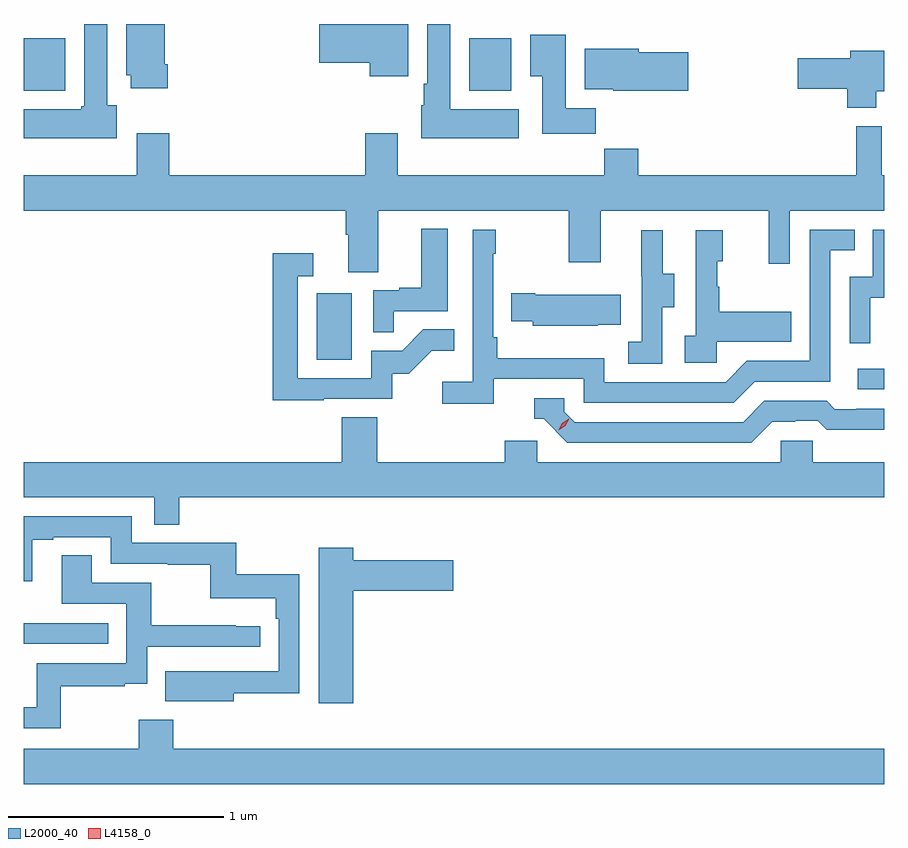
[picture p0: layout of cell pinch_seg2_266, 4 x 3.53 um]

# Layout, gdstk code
import gdstk
lib = gdstk.Library(unit=1e-6, precision=1e-09)
def R(c, l, rs):  # rectangles x0, y0, x1, y1
    for r in rs: c.add(gdstk.rectangle(r[:2], r[2:], *l))
def P(c, l, *ps):  # polygons
    for p in ps: c.add(gdstk.Polygon(p, *l))
L2000_40 = (2000, 40)
L4158_0 = (4158, 0)

pinch_seg2_266 = lib.new_cell('pinch_seg2_266')
R(pinch_seg2_266, L2000_40, [(900.998,654.948,901.391,655.044), (904.875,656.13,904.998,656.226), (902.36,656.268,902.524,656.575), (900.998,657.518,901.192,657.76), (903.068,657.518,903.265,657.76)])
P(pinch_seg2_266, L2000_40, [(901.432,657.45),(901.387,657.45),(901.387,657.827),(901.28,657.827),(901.28,657.444),(901.267,657.444),(901.267,657.43),(900.998,657.43),(900.998,657.296),(901.432,657.296)],
  [(902.785,657.827),(902.372,657.827),(902.372,657.647),(902.606,657.647),(902.606,657.584),(902.785,657.584)],
  [(901.667,657.64),(901.654,657.64),(901.654,657.827),(901.475,657.827),(901.475,657.588),(901.496,657.588),(901.496,657.528),(901.667,657.528)],
  [(903.298,657.43),(902.98,657.43),(902.98,657.827),(902.873,657.827),(902.873,657.55),(902.858,657.55),(902.858,657.45),(902.846,657.45),(902.846,657.296),(903.298,657.296)],
  [(903.656,657.436),(903.517,657.436),(903.517,657.778),(903.353,657.778),(903.353,657.584),(903.407,657.584),(903.407,657.318),(903.656,657.318)],
  [(904.087,657.695),(903.856,657.695),(903.856,657.712),(903.605,657.712),(903.605,657.524),(903.738,657.524),(903.738,657.518),(904.087,657.518)],
  [(904.96,657.515),(904.998,657.515),(904.998,657.703),(904.838,657.703),(904.838,657.668),(904.596,657.668),(904.596,657.526),(904.826,657.526),(904.826,657.437),(904.96,657.437)],
  [(902.647,656.96),(903.532,656.96),(903.532,656.721),(903.679,656.721),(903.679,656.96),(904.46,656.96),(904.46,656.712),(904.557,656.712),(904.557,656.96),(904.998,656.96),(904.998,657.124),(904.985,657.124),(904.985,657.352),(904.867,657.352),(904.867,657.124),(903.854,657.124),(903.854,657.248),(903.697,657.248),(903.697,657.124),(902.737,657.124),(902.737,657.319),(902.585,657.319),(902.585,657.124),(901.676,657.124),(901.676,657.319),(901.523,657.319),(901.523,657.124),(900.998,657.124),(900.998,656.96),(902.495,656.96),(902.495,656.848),(902.507,656.848),(902.507,656.674),(902.647,656.674)],
  [(902.717,656.493),(902.968,656.493),(902.968,656.875),(902.846,656.875),(902.846,656.602),(902.743,656.602),(902.743,656.589),(902.622,656.589),(902.622,656.395),(902.717,656.395)],
  [(903.182,656.178),(903.6,656.178),(903.6,656.067),(904.297,656.067),(904.396,656.166),(904.746,656.166),(904.746,656.775),(904.859,656.775),(904.859,656.871),(904.65,656.871),(904.65,656.262),(904.359,656.262),(904.26,656.163),(903.696,656.163),(903.696,656.275),(903.2,656.275),(903.2,656.371),(903.18,656.371),(903.18,656.759),(903.193,656.759),(903.193,656.872),(903.084,656.872),(903.084,656.164),(902.943,656.164),(902.943,656.062),(903.182,656.062)],
  [(904.932,656.555),(904.998,656.555),(904.998,656.871),(904.944,656.871),(904.944,656.652),(904.836,656.652),(904.836,656.343),(904.932,656.343)],
  [(903.966,656.512),(904.021,656.512),(904.021,656.667),(903.967,656.667),(903.967,656.869),(903.869,656.869),(903.869,656.655),(903.87,656.655),(903.87,656.351),(903.807,656.351),(903.807,656.248),(903.966,656.248)],
  [(904.218,656.351),(904.565,656.351),(904.565,656.491),(904.231,656.491),(904.231,656.606),(904.221,656.606),(904.221,656.724),(904.246,656.724),(904.246,656.869),(904.122,656.869),(904.122,656.378),(904.071,656.378),(904.071,656.253),(904.218,656.253)],
  [(902.393,656.085),(902.712,656.085),(902.712,656.202),(902.788,656.202),(902.895,656.309),(902.999,656.309),(902.999,656.408),(902.856,656.408),(902.758,656.31),(902.613,656.31),(902.613,656.181),(902.271,656.181),(902.271,656.655),(902.344,656.655),(902.344,656.761),(902.155,656.761),(902.155,656.08),(902.393,656.08)],
  [(903.665,656.429),(903.773,656.429),(903.773,656.569),(903.376,656.569),(903.376,656.577),(903.265,656.577),(903.265,656.447),(903.363,656.447),(903.363,656.426),(903.665,656.426)],
  [(904.477,655.98),(904.584,655.98),(904.584,655.983),(904.687,655.983),(904.729,655.941),(904.962,655.941),(904.962,655.943),(904.998,655.943),(904.998,656.04),(904.867,656.04),(904.867,656.037),(904.768,656.037),(904.729,656.076),(904.44,656.076),(904.341,655.977),(903.558,655.977),(903.51,656.025),(903.51,656.088),(903.371,656.088),(903.371,655.992),(903.414,655.992),(903.525,655.881),(904.378,655.881)],
  [(901.721,655.628),(904.998,655.628),(904.998,655.792),(904.665,655.792),(904.665,655.89),(904.515,655.89),(904.515,655.792),(903.384,655.792),(903.384,655.89),(903.233,655.89),(903.233,655.792),(902.642,655.792),(902.642,656),(902.477,656),(902.477,655.792),(900.998,655.792),(900.998,655.628),(901.605,655.628),(901.605,655.501),(901.721,655.501)],
  [(901.975,654.718),(902.28,654.718),(902.28,655.27),(901.987,655.27),(901.987,655.416),(901.5,655.416),(901.5,655.539),(900.998,655.539),(900.998,655.238),(901.039,655.238),(901.039,655.431),(901.135,655.431),(901.135,655.443),(901.404,655.443),(901.404,655.32),(901.669,655.32),(901.669,655.315),(901.866,655.315),(901.866,655.16),(902.171,655.16),(902.171,655.064),(902.184,655.064),(902.184,654.819),(901.871,654.819),(901.871,654.82),(901.657,654.82),(901.657,654.68),(901.975,654.68)],
  [(902.53,655.193),(902.995,655.193),(902.995,655.335),(902.53,655.335),(902.53,655.393),(902.369,655.393),(902.369,654.672),(902.53,654.672)],
  [(901.171,654.75),(901.469,654.75),(901.469,654.761),(901.572,654.761),(901.572,654.933),(902.098,654.933),(902.098,655.029),(901.985,655.029),(901.985,655.034),(901.592,655.034),(901.592,655.23),(901.315,655.23),(901.315,655.358),(901.175,655.358),(901.175,655.134),(901.476,655.134),(901.476,654.858),(901.06,654.858),(901.06,654.652),(900.998,654.652),(900.998,654.555),(901.171,654.555)],
  [(904.998,654.46),(901.694,654.46),(901.694,654.595),(901.534,654.595),(901.534,654.46),(900.998,654.46),(900.998,654.296),(904.998,654.296)])
P(pinch_seg2_266, L4158_0, [(903.485,655.94),(903.485,655.941),(903.502,655.973),(903.532,655.992),(903.533,655.992),(903.533,655.992),(903.516,655.96),(903.485,655.94)])

lib.write_gds('pinch_seg2_266.gds')
